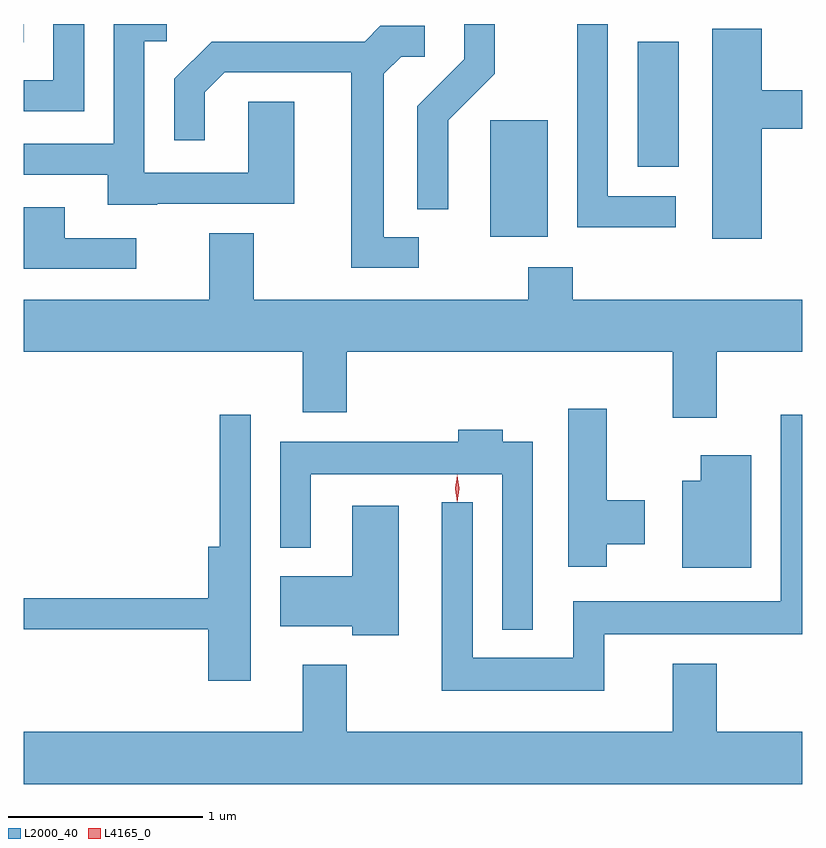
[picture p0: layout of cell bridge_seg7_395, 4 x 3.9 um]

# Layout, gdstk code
import gdstk
lib = gdstk.Library(unit=1e-6, precision=1e-09)
def R(c, l, rs):  # rectangles x0, y0, x1, y1
    for r in rs: c.add(gdstk.rectangle(r[:2], r[2:], *l))
def P(c, l, *ps):  # polygons
    for p in ps: c.add(gdstk.Polygon(p, *l))
L2000_40 = (2000, 40)
L4165_0 = (4165, 0)

bridge_seg7_395 = lib.new_cell('bridge_seg7_395')
R(bridge_seg7_395, L2000_40, [(1071.446,1721.566,1071.739,1722.164), (1072.201,1721.926,1072.414,1722.569), (1069.048,1722.566,1069.049,1722.659)])
P(bridge_seg7_395, L2000_40, [(1072.398,1721.774),(1072.049,1721.774),(1072.049,1722.659),(1071.891,1722.659),(1071.891,1721.616),(1072.398,1721.616)],
  [(1071.229,1722.164),(1071.469,1722.404),(1071.469,1722.659),(1071.311,1722.659),(1071.311,1722.477),(1071.071,1722.237),(1071.071,1721.708),(1071.229,1721.708)],
  [(1069.359,1722.659),(1069.201,1722.659),(1069.201,1722.369),(1069.048,1722.369),(1069.048,1722.211),(1069.359,1722.211)],
  [(1069.735,1721.736),(1070.439,1721.736),(1070.439,1722.259),(1070.201,1722.259),(1070.201,1721.894),(1069.669,1721.894),(1069.669,1722.571),(1069.783,1722.571),(1069.783,1722.659),(1069.511,1722.659),(1069.511,1722.044),(1069.048,1722.044),(1069.048,1721.886),(1069.481,1721.886),(1069.481,1721.731),(1069.735,1721.731)],
  [(1071.078,1721.564),(1070.899,1721.564),(1070.899,1722.404),(1070.987,1722.491),(1071.108,1722.491),(1071.108,1722.649),(1070.879,1722.649),(1070.799,1722.569),(1070.014,1722.569),(1069.821,1722.377),(1069.821,1722.063),(1069.979,1722.063),(1069.979,1722.309),(1070.082,1722.411),(1070.731,1722.411),(1070.731,1721.406),(1071.078,1721.406)],
  [(1072.839,1722.121),(1073.048,1722.121),(1073.048,1722.319),(1072.839,1722.319),(1072.839,1722.634),(1072.586,1722.634),(1072.586,1721.556),(1072.839,1721.556)],
  [(1069.628,1721.559),(1069.259,1721.559),(1069.259,1721.719),(1069.048,1721.719),(1069.048,1721.401),(1069.628,1721.401)],
  [(1072.609,1720.976),(1073.048,1720.976),(1073.048,1721.244),(1071.869,1721.244),(1071.869,1721.409),(1071.641,1721.409),(1071.641,1721.244),(1070.229,1721.244),(1070.229,1721.584),(1070.001,1721.584),(1070.001,1721.244),(1069.048,1721.244),(1069.048,1720.976),(1070.481,1720.976),(1070.481,1720.666),(1070.709,1720.666),(1070.709,1720.976),(1072.381,1720.976),(1072.381,1720.636),(1072.609,1720.636)],
  [(1072.044,1719.986),(1072.239,1719.986),(1072.239,1720.214),(1072.044,1720.214),(1072.044,1720.684),(1071.846,1720.684),(1071.846,1719.871),(1072.044,1719.871)],
  [(1070.214,1720.653),(1070.056,1720.653),(1070.056,1719.974),(1069.996,1719.974),(1069.996,1719.709),(1069.048,1719.709),(1069.048,1719.551),(1069.996,1719.551),(1069.996,1719.286),(1070.214,1719.286)],
  [(1072.029,1719.526),(1073.048,1719.526),(1073.048,1720.653),(1072.936,1720.653),(1072.936,1719.694),(1071.871,1719.694),(1071.871,1719.404),(1071.354,1719.404),(1071.354,1720.203),(1071.196,1720.203),(1071.196,1719.236),(1072.029,1719.236)],
  [(1071.664,1720.514),(1071.509,1720.514),(1071.509,1720.574),(1071.281,1720.574),(1071.281,1720.514),(1070.366,1720.514),(1070.366,1719.968),(1070.524,1719.968),(1070.524,1720.346),(1071.506,1720.346),(1071.506,1719.548),(1071.664,1719.548)],
  [(1072.784,1720.444),(1072.526,1720.444),(1072.526,1720.314),(1072.431,1720.314),(1072.431,1719.866),(1072.784,1719.866)],
  [(1070.974,1720.184),(1070.736,1720.184),(1070.736,1719.824),(1070.366,1719.824),(1070.366,1719.566),(1070.736,1719.566),(1070.736,1719.521),(1070.974,1719.521)],
  [(1073.048,1719.024),(1072.609,1719.024),(1072.609,1719.374),(1072.381,1719.374),(1072.381,1719.024),(1070.709,1719.024),(1070.709,1719.369),(1070.481,1719.369),(1070.481,1719.024),(1069.048,1719.024),(1069.048,1718.756),(1073.048,1718.756)])
P(bridge_seg7_395, L4165_0, [(1071.275,1720.203),(1071.274,1720.204),(1071.265,1720.273),(1071.274,1720.342),(1071.275,1720.343),(1071.275,1720.342),(1071.285,1720.273),(1071.275,1720.204)],
  [(1071.274,1720.207),(1071.265,1720.274),(1071.274,1720.34),(1071.275,1720.34),(1071.275,1720.34),(1071.285,1720.274),(1071.275,1720.207),(1071.275,1720.207)])

lib.write_gds('bridge_seg7_395.gds')
